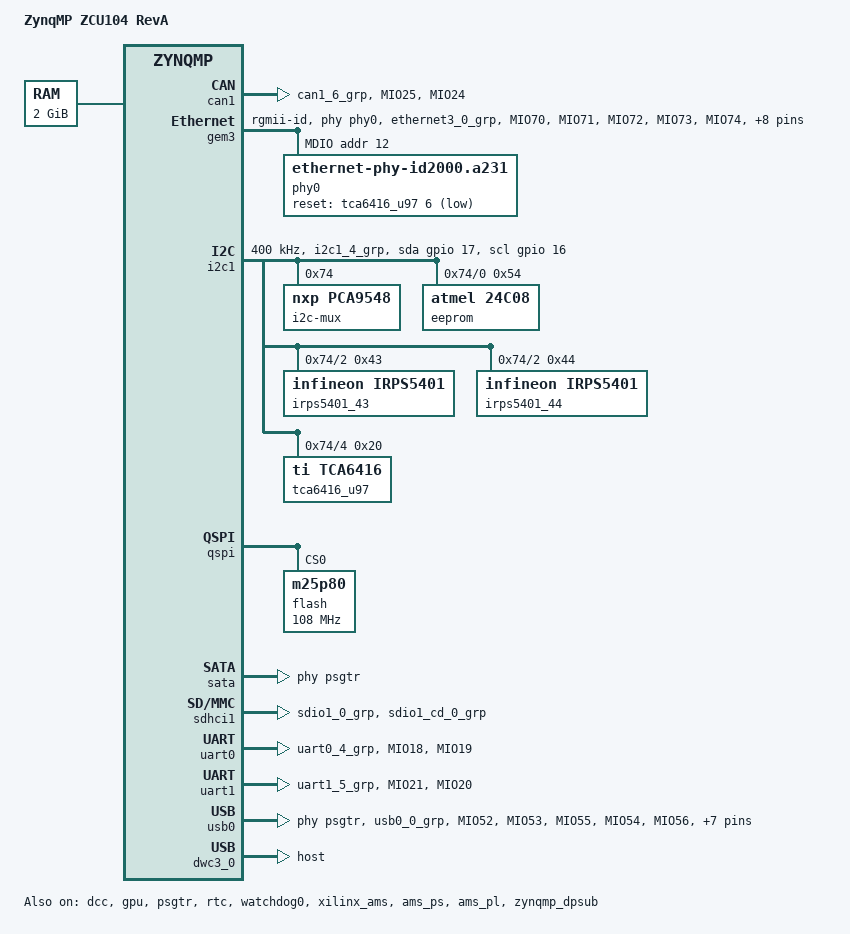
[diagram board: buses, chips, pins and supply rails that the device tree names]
// SPDX-License-Identifier: GPL-2.0+
/*
 * dts file for Xilinx ZynqMP ZCU104
 *
 * (C) Copyright 2017 - 2022, Xilinx, Inc.
 * (C) Copyright 2022 - 2023, Advanced Micro Devices, Inc.
 *
 * Michal Simek <michal.simek@amd.com>
 */

/dts-v1/;

#include "zynqmp.dtsi"
#include "zynqmp-clk-ccf.dtsi"
#include <dt-bindings/gpio/gpio.h>
#include <dt-bindings/pinctrl/pinctrl-zynqmp.h>
#include <dt-bindings/phy/phy.h>

/ {
	model = "ZynqMP ZCU104 RevA";
	compatible = "xlnx,zynqmp-zcu104-revA", "xlnx,zynqmp-zcu104", "xlnx,zynqmp";

	aliases {
		ethernet0 = &gem3;
		i2c0 = &i2c1;
		mmc0 = &sdhci1;
		nvmem0 = &eeprom;
		rtc0 = &rtc;
		serial0 = &uart0;
		serial1 = &uart1;
		serial2 = &dcc;
		spi0 = &qspi;
		usb0 = &usb0;
	};

	chosen {
		bootargs = "earlycon";
		stdout-path = "serial0:115200n8";
	};

	memory@0 {
		device_type = "memory";
		reg = <0x0 0x0 0x0 0x80000000>;
	};

	clock_8t49n287_5: clk125 {
		compatible = "fixed-clock";
		#clock-cells = <0>;
		clock-frequency = <125000000>;
	};

	clock_8t49n287_2: clk26 {
		compatible = "fixed-clock";
		#clock-cells = <0>;
		clock-frequency = <26000000>;
	};

	clock_8t49n287_3: clk27 {
		compatible = "fixed-clock";
		#clock-cells = <0>;
		clock-frequency = <27000000>;
	};
};

&can1 {
	status = "okay";
	pinctrl-names = "default";
	pinctrl-0 = <&pinctrl_can1_default>;
};

&dcc {
	status = "okay";
};

&fpd_dma_chan1 {
	status = "okay";
};

&fpd_dma_chan2 {
	status = "okay";
};

&fpd_dma_chan3 {
	status = "okay";
};

&fpd_dma_chan4 {
	status = "okay";
};

&fpd_dma_chan5 {
	status = "okay";
};

&fpd_dma_chan6 {
	status = "okay";
};

&fpd_dma_chan7 {
	status = "okay";
};

&fpd_dma_chan8 {
	status = "okay";
};

&gem3 {
	status = "okay";
	phy-handle = <&phy0>;
	phy-mode = "rgmii-id";
	pinctrl-names = "default";
	pinctrl-0 = <&pinctrl_gem3_default>;
	mdio: mdio {
		#address-cells = <1>;
		#size-cells = <0>;
		phy0: ethernet-phy@c {
			#phy-cells = <1>;
			compatible = "ethernet-phy-id2000.a231";
			reg = <0xc>;
			ti,rx-internal-delay = <0x8>;
			ti,tx-internal-delay = <0xa>;
			ti,fifo-depth = <0x1>;
			ti,dp83867-rxctrl-strap-quirk;
			reset-gpios = <&tca6416_u97 6 GPIO_ACTIVE_LOW>;
		};
	};
};

&gpio {
	status = "okay";
};

&gpu {
	status = "okay";
};

&i2c1 {
	status = "okay";
	clock-frequency = <400000>;
	pinctrl-names = "default", "gpio";
	pinctrl-0 = <&pinctrl_i2c1_default>;
	pinctrl-1 = <&pinctrl_i2c1_gpio>;
	scl-gpios = <&gpio 16 (GPIO_ACTIVE_HIGH | GPIO_OPEN_DRAIN)>;
	sda-gpios = <&gpio 17 (GPIO_ACTIVE_HIGH | GPIO_OPEN_DRAIN)>;

	/* Another connection to this bus via PL i2c via PCA9306 - u45 */
	i2c-mux@74 { /* u34 */
		compatible = "nxp,pca9548";
		#address-cells = <1>;
		#size-cells = <0>;
		reg = <0x74>;
		i2c@0 {
			#address-cells = <1>;
			#size-cells = <0>;
			reg = <0>;
			/*
			 * IIC_EEPROM 1kB memory which uses 256B blocks
			 * where every block has different address.
			 *    0 - 256B address 0x54
			 * 256B - 512B address 0x55
			 * 512B - 768B address 0x56
			 * 768B - 1024B address 0x57
			 */
			eeprom: eeprom@54 { /* u23 */
				compatible = "atmel,24c08";
				reg = <0x54>;
				#address-cells = <1>;
				#size-cells = <1>;
			};
		};

		i2c@1 {
			#address-cells = <1>;
			#size-cells = <0>;
			reg = <1>;
			/* 8T49N287 - u182 */
		};

		i2c@2 {
			#address-cells = <1>;
			#size-cells = <0>;
			reg = <2>;
			irps5401_43: irps5401@43 { /* IRPS5401 - u175 */
				compatible = "infineon,irps5401";
				reg = <0x43>; /* pmbus / i2c 0x13 */
			};
			irps5401_44: irps5401@44 { /* IRPS5401 - u180 */
				compatible = "infineon,irps5401";
				reg = <0x44>; /* pmbus / i2c 0x14 */
			};
		};

		i2c@4 {
			#address-cells = <1>;
			#size-cells = <0>;
			reg = <4>;
			tca6416_u97: gpio@20 {
				compatible = "ti,tca6416";
				reg = <0x20>;
				gpio-controller;
				#gpio-cells = <2>;
				/*
				 * IRQ not connected
				 * Lines:
				 * 0 - IRPS5401_ALERT_B
				 * 1 - HDMI_8T49N241_INT_ALM
				 * 2 - MAX6643_OT_B
				 * 3 - MAX6643_FANFAIL_B
				 * 5 - IIC_MUX_RESET_B
				 * 6 - GEM3_EXP_RESET_B
				 * 7 - FMC_LPC_PRSNT_M2C_B
				 * 4, 10 - 17 - not connected
				 */
			};
		};

		i2c@5 {
			#address-cells = <1>;
			#size-cells = <0>;
			reg = <5>;
		};

		i2c@7 {
			#address-cells = <1>;
			#size-cells = <0>;
			reg = <7>;
		};

		/* 3, 6 not connected */
	};
};

&pinctrl0 {
	status = "okay";

	pinctrl_can1_default: can1-default {
		mux {
			function = "can1";
			groups = "can1_6_grp";
		};

		conf {
			groups = "can1_6_grp";
			slew-rate = <SLEW_RATE_SLOW>;
			power-source = <IO_STANDARD_LVCMOS18>;
			drive-strength = <12>;
		};

		conf-rx {
			pins = "MIO25";
			bias-high-impedance;
		};

		conf-tx {
			pins = "MIO24";
			bias-disable;
		};
	};

	pinctrl_i2c1_default: i2c1-default {
		mux {
			groups = "i2c1_4_grp";
			function = "i2c1";
		};

		conf {
			groups = "i2c1_4_grp";
			bias-pull-up;
			slew-rate = <SLEW_RATE_SLOW>;
			power-source = <IO_STANDARD_LVCMOS18>;
			drive-strength = <12>;
		};
	};

	pinctrl_i2c1_gpio: i2c1-gpio {
		mux {
			groups = "gpio0_16_grp", "gpio0_17_grp";
			function = "gpio0";
		};

		conf {
			groups = "gpio0_16_grp", "gpio0_17_grp";
			slew-rate = <SLEW_RATE_SLOW>;
			power-source = <IO_STANDARD_LVCMOS18>;
			drive-strength = <12>;
		};
	};

	pinctrl_gem3_default: gem3-default {
		mux {
			function = "ethernet3";
			groups = "ethernet3_0_grp";
		};

		conf {
			groups = "ethernet3_0_grp";
			slew-rate = <SLEW_RATE_SLOW>;
			power-source = <IO_STANDARD_LVCMOS18>;
			drive-strength = <12>;
		};

		conf-rx {
			pins = "MIO70", "MIO71", "MIO72", "MIO73", "MIO74",
									"MIO75";
			bias-high-impedance;
			low-power-disable;
		};

		conf-tx {
			pins = "MIO64", "MIO65", "MIO66", "MIO67", "MIO68",
									"MIO69";
			bias-disable;
			low-power-enable;
		};

		mux-mdio {
			function = "mdio3";
			groups = "mdio3_0_grp";
		};

		conf-mdio {
			groups = "mdio3_0_grp";
			slew-rate = <SLEW_RATE_SLOW>;
			power-source = <IO_STANDARD_LVCMOS18>;
			bias-disable;
		};
	};

	pinctrl_sdhci1_default: sdhci1-default {
		mux {
			groups = "sdio1_0_grp";
			function = "sdio1";
		};

		conf {
			groups = "sdio1_0_grp";
			slew-rate = <SLEW_RATE_SLOW>;
			power-source = <IO_STANDARD_LVCMOS18>;
			bias-disable;
			drive-strength = <12>;
		};

		mux-cd {
			groups = "sdio1_cd_0_grp";
			function = "sdio1_cd";
		};

		conf-cd {
			groups = "sdio1_cd_0_grp";
			bias-high-impedance;
			bias-pull-up;
			slew-rate = <SLEW_RATE_SLOW>;
			power-source = <IO_STANDARD_LVCMOS18>;
		};
	};

	pinctrl_uart0_default: uart0-default {
		mux {
			groups = "uart0_4_grp";
			function = "uart0";
		};

		conf {
			groups = "uart0_4_grp";
			slew-rate = <SLEW_RATE_SLOW>;
			power-source = <IO_STANDARD_LVCMOS18>;
			drive-strength = <12>;
		};

		conf-rx {
			pins = "MIO18";
			bias-high-impedance;
		};

		conf-tx {
			pins = "MIO19";
			bias-disable;
		};
	};

	pinctrl_uart1_default: uart1-default {
		mux {
			groups = "uart1_5_grp";
			function = "uart1";
		};

		conf {
			groups = "uart1_5_grp";
			slew-rate = <SLEW_RATE_SLOW>;
			power-source = <IO_STANDARD_LVCMOS18>;
			drive-strength = <12>;
		};

		conf-rx {
			pins = "MIO21";
			bias-high-impedance;
		};

		conf-tx {
			pins = "MIO20";
			bias-disable;
		};
	};

	pinctrl_usb0_default: usb0-default {
		mux {
			groups = "usb0_0_grp";
			function = "usb0";
		};

		conf {
			groups = "usb0_0_grp";
			power-source = <IO_STANDARD_LVCMOS18>;
		};

		conf-rx {
			pins = "MIO52", "MIO53", "MIO55";
			bias-high-impedance;
			drive-strength = <12>;
			slew-rate = <SLEW_RATE_FAST>;
		};

		conf-tx {
			pins = "MIO54", "MIO56", "MIO57", "MIO58", "MIO59",
			       "MIO60", "MIO61", "MIO62", "MIO63";
			bias-disable;
			drive-strength = <4>;
			slew-rate = <SLEW_RATE_SLOW>;
		};
	};
};

&psgtr {
	status = "okay";
	/* nc, sata, usb3, dp */
	clocks = <&clock_8t49n287_5>, <&clock_8t49n287_2>, <&clock_8t49n287_3>;
	clock-names = "ref1", "ref2", "ref3";
};

&qspi {
	status = "okay";
	flash@0 {
		compatible = "m25p80", "jedec,spi-nor"; /* n25q512a 128MiB */
		#address-cells = <1>;
		#size-cells = <1>;
		reg = <0x0>;
		spi-tx-bus-width = <4>;
		spi-rx-bus-width = <4>;
		spi-max-frequency = <108000000>; /* Based on DC1 spec */
	};
};

&rtc {
	status = "okay";
};

&sata {
	status = "okay";
	/* SATA OOB timing settings */
	ceva,p0-cominit-params = /bits/ 8 <0x18 0x40 0x18 0x28>;
	ceva,p0-comwake-params = /bits/ 8 <0x06 0x14 0x08 0x0E>;
	ceva,p0-burst-params = /bits/ 8 <0x13 0x08 0x4A 0x06>;
	ceva,p0-retry-params = /bits/ 16 <0x96A4 0x3FFC>;
	ceva,p1-cominit-params = /bits/ 8 <0x18 0x40 0x18 0x28>;
	ceva,p1-comwake-params = /bits/ 8 <0x06 0x14 0x08 0x0E>;
	ceva,p1-burst-params = /bits/ 8 <0x13 0x08 0x4A 0x06>;
	ceva,p1-retry-params = /bits/ 16 <0x96A4 0x3FFC>;
	phy-names = "sata-phy";
	phys = <&psgtr 3 PHY_TYPE_SATA 1 1>;
};

/* SD1 with level shifter */
&sdhci1 {
	status = "okay";
	no-1-8-v;
	pinctrl-names = "default";
	pinctrl-0 = <&pinctrl_sdhci1_default>;
	xlnx,mio-bank = <1>;
	disable-wp;
};

&uart0 {
	status = "okay";
	pinctrl-names = "default";
	pinctrl-0 = <&pinctrl_uart0_default>;
};

&uart1 {
	status = "okay";
	pinctrl-names = "default";
	pinctrl-0 = <&pinctrl_uart1_default>;
};

/* ULPI SMSC USB3320 */
&usb0 {
	status = "okay";
	pinctrl-names = "default";
	pinctrl-0 = <&pinctrl_usb0_default>;
	phy-names = "usb3-phy";
	phys = <&psgtr 2 PHY_TYPE_USB3 0 2>;
};

&dwc3_0 {
	status = "okay";
	dr_mode = "host";
	snps,usb3_lpm_capable;
	maximum-speed = "super-speed";
};

&watchdog0 {
	status = "okay";
};

&xilinx_ams {
	status = "okay";
};

&ams_ps {
	status = "okay";
};

&ams_pl {
	status = "okay";
};

&zynqmp_dpdma {
	status = "okay";
};

&zynqmp_dpsub {
	status = "okay";
	phy-names = "dp-phy0", "dp-phy1";
	phys = <&psgtr 1 PHY_TYPE_DP 0 3>,
	       <&psgtr 0 PHY_TYPE_DP 1 3>;
};
